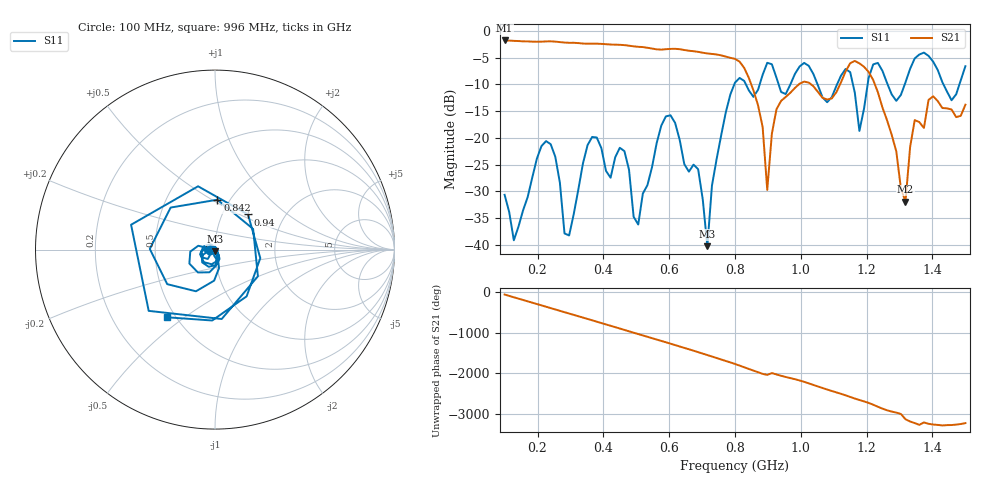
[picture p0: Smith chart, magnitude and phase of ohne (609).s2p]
! NanoVNA-App
! Date: 2025-09-25 14:25:32
! Start: 100MHz Stop: 1,5GHz Points: 101
! S-Parameter data: F S11 S21 S12 S22
# Hz S RI R 50
!  Frequency  S11_Real  S11_Imag  S21_Real  S21_Imag  S12_Real  S12_Imag  S22_Real  S22_Imag
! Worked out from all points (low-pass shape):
!   101 points, 100 MHz to 1.5 GHz, reference 50 ohm
!   highest |S21| = -1.79 dB at 100 MHz (marker M1); lowest = -31.9 dB at 1.318 GHz (marker M2)
!   |S21| within 3 dB of the highest: start of sweep to 770.7 MHz
!   lowest |S11| = -40.2 dB at 716 MHz (marker M3), VSWR 1.02, Z = 49.8 - j0.955 ohm
!   |S11| at or under -10 dB: start of sweep to 797.9 MHz; 833.1 MHz to 875.1 MHz (41.92 MHz wide, 4.91 % of centre); 1.051 GHz to 1.11 GHz (59.28 MHz wide, 5.49 % of centre) (the widest 3 of 7)
!   S12 and S22 are empty: the file has one direction only
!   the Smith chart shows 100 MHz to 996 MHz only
!   S11 on the Smith chart (normalised r, x): 100 MHz: 0.94, -0.01; 842 MHz: 0.88, +0.53; 940 MHz: 1.32, +0.56; 996 MHz: 0.45, -0.43
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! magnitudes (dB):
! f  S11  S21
! 100 MHz  -30.6  -1.8
! 128 MHz  -39.1  -1.9
! 226 MHz  -20.6  -2.0
! 296 MHz  -38.2  -2.2
! 338 MHz  -24.8  -2.4
! 464 MHz  -22.5  -2.7
! 506 MHz  -36.2  -3.0
! 576 MHz  -17.7  -3.5
! 688 MHz  -25.8  -3.9
! 716 MHz  -40.2  -4.2
! 800 MHz  -9.7  -5.2
! 842 MHz  -11.1  -8.8
! 898 MHz  -6.0  -29.7
! 940 MHz  -11.4  -13.1
! 996 MHz  -6.7  -9.9
! 1.038 GHz  -8.0  -10.3
! 1.178 GHz  -18.7  -6.1
! 1.22 GHz  -6.3  -9.2
! 1.276 GHz  -11.9  -19.4
! 1.318 GHz  -9.6  -31.9
! 1.346 GHz  -5.2  -16.7
! 1.5 GHz  -6.6  -13.8
